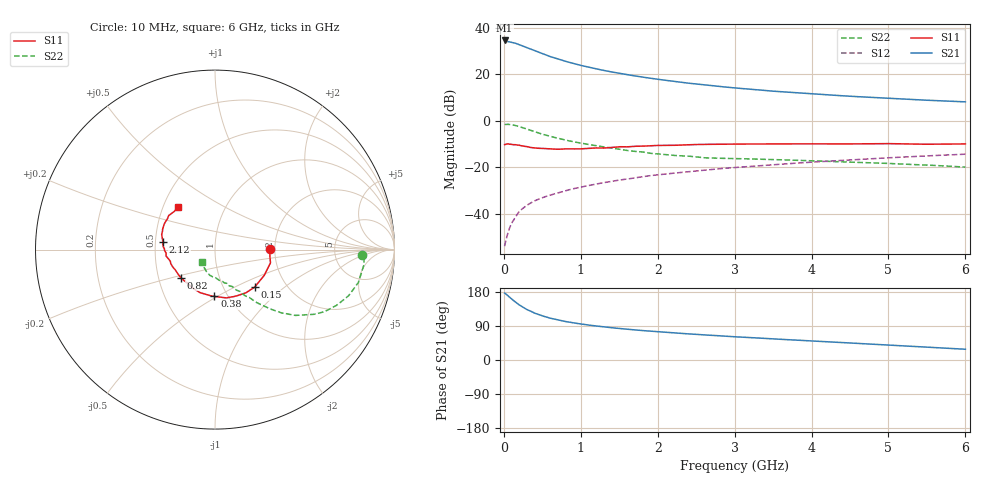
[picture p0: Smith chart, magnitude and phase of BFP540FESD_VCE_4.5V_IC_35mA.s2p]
! Infineon Technologies  Discrete & RF Semiconductors
! BFP540FESD
! VCE =  4.5 V,  IC =  35 mA
! Common Emitter S-Parameters:  Nov 2015
# GHz  S  MA  R  50
!  f  S11  S21  S12  S22
! GHz  MAG  ANG  MAG  ANG  MAG  ANG  MAG  ANG
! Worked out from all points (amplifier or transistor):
!   210 points, 10 MHz to 6 GHz, reference 50 ohm
!   highest |S21| = 34.5 dB at 10 MHz (marker M1)
!   |S21| within 3 dB of that: start of sweep to 295.1 MHz
!   unconditionally stable (mu >= 1): start of sweep to 45.72 MHz; 1.38 GHz to end of sweep
!   at 185 MHz: K = 0.59, MSG = 36.3 dB, |S12| = -39.7 dB
!   at 1.52 GHz: K = 1.01, MAG = 22.2 dB, |S12| = -25.5 dB
!   at 6 GHz: K = 1.16, MAG = 8.8 dB, |S12| = -14.4 dB
!   S11 on the Smith chart (normalised r, x): 10 MHz: 1.88, +0.01; 150 MHz: 1.40, -0.64; 380 MHz: 0.87, -0.48; 820 MHz: 0.65, -0.22; 2.12 GHz: 0.55, +0.05; 6 GHz: 0.60, +0.31
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0.01  0.3048 0.3  52.89 176.5  0.002 27.5  0.8209 -2.1
0.02  0.3074 -6.4  50.98 175.3  0.0024 32.8  0.8291 -1.0
0.05  0.3178 -13.4  50.38 170.1  0.0037 51.4  0.8349 -5.6
0.1  0.3096 -27.6  48.39 161.1  0.0062 60.9  0.8196 -12.9
0.15  0.3042 -43.2  46.17 153.0  0.0083 67.7  0.7874 -19.1
0.2  0.2961 -54.3  43.08 145.4  0.0111 65.7  0.7444 -24.7
0.26  0.282 -68.1  39.45 137.9  0.0135 66.4  0.6931 -30.2
0.3  0.2763 -76.9  37.18 133.1  0.0151 66.2  0.6585 -33.2
0.38  0.2606 -90.8  32.82 125.8  0.0181 67.2  0.5942 -38.0
0.4  0.2592 -94.5  31.82 123.7  0.0189 67.4  0.5789 -39.3
0.5  0.2537 -109.2  27.53 116.3  0.022 65.3  0.511 -43.6
0.6  0.248 -120.3  23.91 110.5  0.0249 66.0  0.4588 -46.6
0.7  0.2424 -129.9  21.16 105.8  0.0278 66.3  0.4188 -48.9
0.82  0.2471 -140.9  18.47 101.0  0.0317 66.3  0.3754 -51.8
1.02  0.2485 -152.9  15.14 94.5  0.0377 67.4  0.3241 -54.9
1.5  0.2751 -172.5  10.4 83.2  0.0527 66.3  0.2436 -63.7
2.02  0.2927 173.3  7.66 74.2  0.0685 63.2  0.1916 -74.5
2.12  0.2936 172.1  7.291 72.9  0.0715 62.9  0.1844 -75.9
3.1  0.3136 157.8  4.896 60.3  0.1007 57.6  0.1516 -95.3
4.1  0.3166 150.4  3.675 49.2  0.1309 51.4  0.1353 -108.2
5.1  0.318 142.3  2.966 38.2  0.1619 43.8  0.1179 -120.3
6  0.3154 131.0  2.532 28.4  0.1899 36.4  0.1003 -138.5
